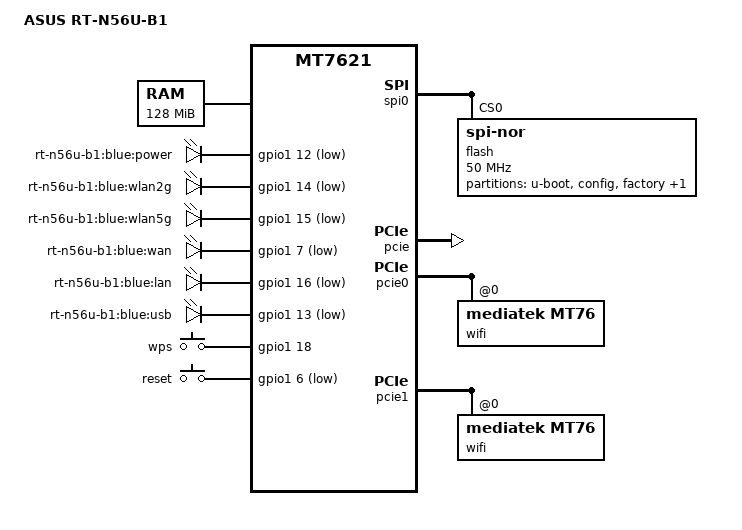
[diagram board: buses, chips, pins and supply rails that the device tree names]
// SPDX-License-Identifier: GPL-2.0-or-later OR MIT
/dts-v1/;

#include "mt7621.dtsi"

#include <dt-bindings/gpio/gpio.h>
#include <dt-bindings/input/input.h>

/ {
	compatible = "asus,rt-n56u-b1", "mediatek,mt7621-soc";
	model = "ASUS RT-N56U-B1";

	aliases {
		label-mac-device = &wan;
		led-boot = &led_power;
		led-failsafe = &led_power;
		led-running = &led_power;
		led-upgrade = &led_power;
	};

	chosen {
		bootargs = "console=ttyS0,115200";
	};
	
	memory@0 {
		device_type = "memory";
		reg = <0x0 0x8000000>;
	};

	leds {
		compatible = "gpio-leds";

		led_power: power {
			label = "rt-n56u-b1:blue:power";
			gpios = <&gpio1 12 GPIO_ACTIVE_LOW>;
		};

		wlan2g {
			label = "rt-n56u-b1:blue:wlan2g";
			gpios = <&gpio1 14 GPIO_ACTIVE_LOW>;
			linux,default-trigger = "phy0tpt";
		};

		wlan5g {
			label = "rt-n56u-b1:blue:wlan5g";
			gpios = <&gpio1 15 GPIO_ACTIVE_LOW>;
			linux,default-trigger = "phy1tpt";
		};

		wan {
			label = "rt-n56u-b1:blue:wan";
			gpios = <&gpio1 7 GPIO_ACTIVE_LOW>;
		};

		lan {
			label = "rt-n56u-b1:blue:lan";
			gpios = <&gpio1 16 GPIO_ACTIVE_LOW>;
		};

		usb {
			label = "rt-n56u-b1:blue:usb";
			gpios = <&gpio1 13 GPIO_ACTIVE_LOW>;
			trigger-sources = <&xhci_ehci_port1>, <&ehci_port2>;
			linux,default-trigger = "usbport";
		};
	};

	keys {
		compatible = "gpio-keys";

		wps {
			label = "wps";
			gpios = <&gpio1 18 GPIO_ACTIVE_HIGH>;
			linux,code = <KEY_WPS_BUTTON>;
			debounce-interval = <60>;
		};

		reset {
			label = "reset";
			gpios = <&gpio1 6 GPIO_ACTIVE_LOW>;
			linux,code = <KEY_RESTART>;
			debounce-interval = <60>;
		};
	};
};

&spi0 {
	status = "okay";

	flash@0 {
		compatible = "jedec,spi-nor";
		reg = <0>;
		spi-max-frequency = <50000000>;
		m25p,fast-read;

		partitions {
			compatible = "fixed-partitions";
			#address-cells = <1>;
			#size-cells = <1>;

			partition@0 {
				label = "u-boot";
				reg = <0x0 0x30000>;
				read-only;
			};

			partition@30000 {
				label = "config";
				reg = <0x30000 0x10000>;
				read-only;
			};

			factory: partition@40000 {
				label = "factory";
				reg = <0x40000 0x10000>;
				read-only;
			};

			partition@50000 {
				compatible = "denx,uimage";
				label = "firmware";
				reg = <0x50000 0xfb0000>;
			};
		};
	};
};

&pcie {
	status = "okay";
};

&pcie0 {
	wifi@0,0 {
		compatible = "mediatek,mt76";
		reg = <0x0000 0 0 0 0>;
		mediatek,mtd-eeprom = <&factory 0x8000>;
	};
};

&pcie1 {
	wifi@0,0 {
		compatible = "mediatek,mt76";
		reg = <0x0000 0 0 0 0>;
		mediatek,mtd-eeprom = <&factory 0x0000>;
	};
};

&ethernet {
	mtd-mac-address = <&factory 0x8004>;

	ports {
		port@0 {
			status = "okay";
			label = "lan4";
		};

		port@1 {
			status = "okay";
			label = "lan3";
		};

		port@2 {
			status = "okay";
			label = "lan2";
		};

		port@3 {
			status = "okay";
			label = "lan1";
		};

		wan: port@4 {
			status = "okay";
			label = "wan";
			mtd-mac-address = <&factory 0x4>;
		};
	};
};

&pinctrl {
	state_default: pinctrl0 {
		gpio {
			ralink,group = "sdhci";
			ralink,function = "gpio";
		};
	};
};
